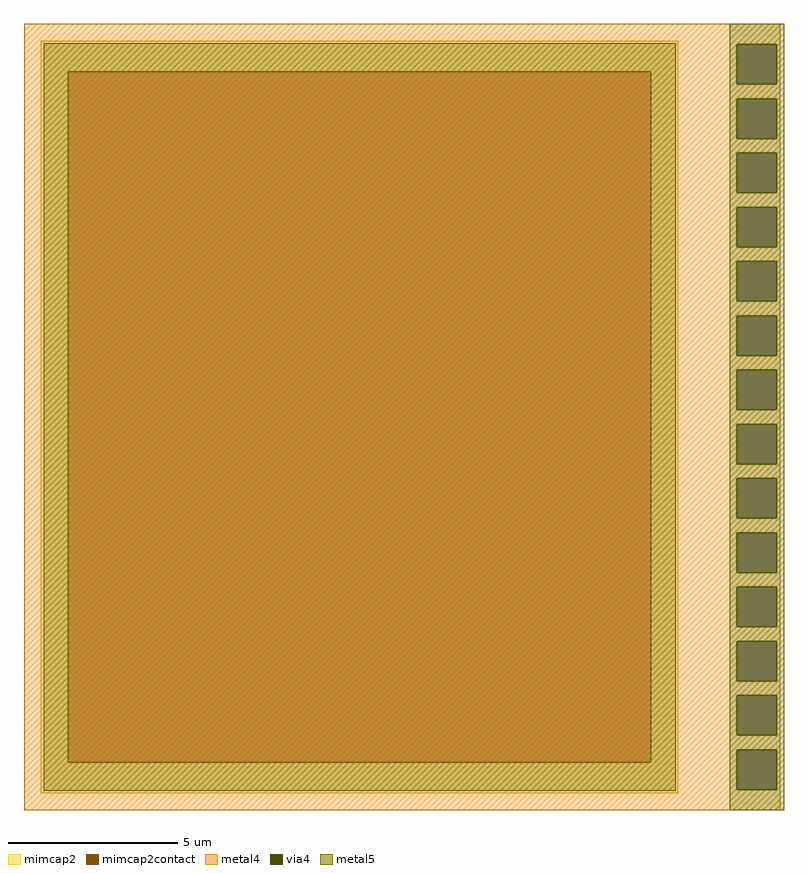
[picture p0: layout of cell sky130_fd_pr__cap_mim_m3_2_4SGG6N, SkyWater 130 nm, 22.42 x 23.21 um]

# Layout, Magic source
magic
tech sky130A
magscale 1 2
<< metal4 >>
rect -2231 2198 2231 2320
rect -2231 1962 1975 2198
rect 2211 1962 2231 2198
rect -2231 1878 2231 1962
rect -2231 1642 1975 1878
rect 2211 1642 2231 1878
rect -2231 1558 2231 1642
rect -2231 1322 1975 1558
rect 2211 1322 2231 1558
rect -2231 1238 2231 1322
rect -2231 1002 1975 1238
rect 2211 1002 2231 1238
rect -2231 918 2231 1002
rect -2231 682 1975 918
rect 2211 682 2231 918
rect -2231 598 2231 682
rect -2231 362 1975 598
rect 2211 362 2231 598
rect -2231 278 2231 362
rect -2231 42 1975 278
rect 2211 42 2231 278
rect -2231 -42 2231 42
rect -2231 -278 1975 -42
rect 2211 -278 2231 -42
rect -2231 -362 2231 -278
rect -2231 -598 1975 -362
rect 2211 -598 2231 -362
rect -2231 -682 2231 -598
rect -2231 -918 1975 -682
rect 2211 -918 2231 -682
rect -2231 -1002 2231 -918
rect -2231 -1238 1975 -1002
rect 2211 -1238 2231 -1002
rect -2231 -1322 2231 -1238
rect -2231 -1558 1975 -1322
rect 2211 -1558 2231 -1322
rect -2231 -1642 2231 -1558
rect -2231 -1878 1975 -1642
rect 2211 -1878 2231 -1642
rect -2231 -1962 2231 -1878
rect -2231 -2198 1975 -1962
rect 2211 -2198 2231 -1962
rect -2231 -2320 2231 -2198
<< via4 >>
rect 1975 1962 2211 2198
rect 1975 1642 2211 1878
rect 1975 1322 2211 1558
rect 1975 1002 2211 1238
rect 1975 682 2211 918
rect 1975 362 2211 598
rect 1975 42 2211 278
rect 1975 -278 2211 -42
rect 1975 -598 2211 -362
rect 1975 -918 2211 -682
rect 1975 -1238 2211 -1002
rect 1975 -1558 2211 -1322
rect 1975 -1878 2211 -1642
rect 1975 -2198 2211 -1962
<< mimcap2 >>
rect -2131 2038 1629 2220
rect -2131 -2038 -1969 2038
rect 1467 -2038 1629 2038
rect -2131 -2220 1629 -2038
<< mimcap2contact >>
rect -1969 -2038 1467 2038
<< metal5 >>
rect -2115 2038 1613 2204
rect -2115 -2038 -1969 2038
rect 1467 -2038 1613 2038
rect -2115 -2204 1613 -2038
rect 1933 2198 2253 2321
rect 1933 1962 1975 2198
rect 2211 1962 2253 2198
rect 1933 1878 2253 1962
rect 1933 1642 1975 1878
rect 2211 1642 2253 1878
rect 1933 1558 2253 1642
rect 1933 1322 1975 1558
rect 2211 1322 2253 1558
rect 1933 1238 2253 1322
rect 1933 1002 1975 1238
rect 2211 1002 2253 1238
rect 1933 918 2253 1002
rect 1933 682 1975 918
rect 2211 682 2253 918
rect 1933 598 2253 682
rect 1933 362 1975 598
rect 2211 362 2253 598
rect 1933 278 2253 362
rect 1933 42 1975 278
rect 2211 42 2253 278
rect 1933 -42 2253 42
rect 1933 -278 1975 -42
rect 2211 -278 2253 -42
rect 1933 -362 2253 -278
rect 1933 -598 1975 -362
rect 2211 -598 2253 -362
rect 1933 -682 2253 -598
rect 1933 -918 1975 -682
rect 2211 -918 2253 -682
rect 1933 -1002 2253 -918
rect 1933 -1238 1975 -1002
rect 2211 -1238 2253 -1002
rect 1933 -1322 2253 -1238
rect 1933 -1558 1975 -1322
rect 2211 -1558 2253 -1322
rect 1933 -1642 2253 -1558
rect 1933 -1878 1975 -1642
rect 2211 -1878 2253 -1642
rect 1933 -1962 2253 -1878
rect 1933 -2198 1975 -1962
rect 2211 -2198 2253 -1962
rect 1933 -2321 2253 -2198
<< properties >>
string FIXED_BBOX -2231 -2320 1729 2320
<< end >>
